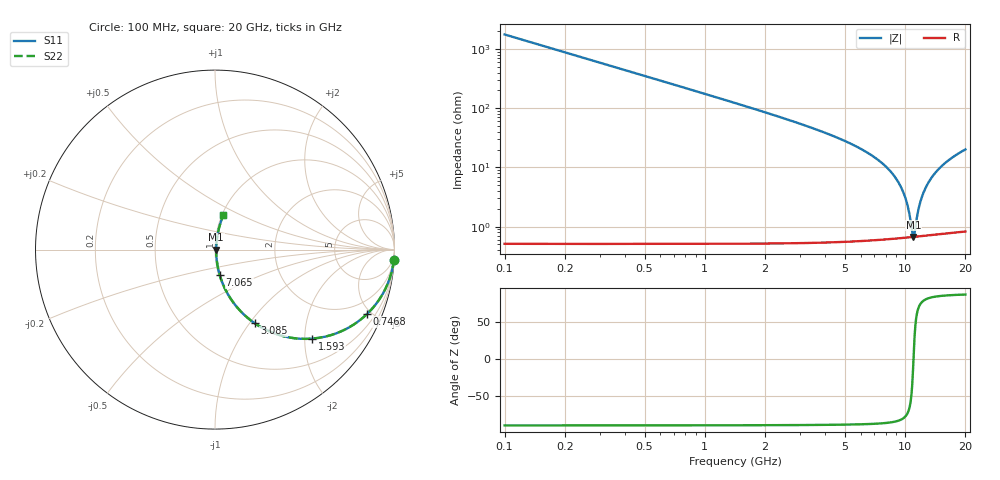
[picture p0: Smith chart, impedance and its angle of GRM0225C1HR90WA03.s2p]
!Murata Part Number: GRM0225C1HR90WA03
!These Parameters are Measured in Series Mode Connection
!Data Generated on Mar 30, 2021
!  o--ll--o
!Port1  Port2
!  o------o
!Operation Temp=25[degC], DC Bias Voltage=0[V]
!Freq. Start=100[MHz] Stop=20[GHz] 401[Steps]
# Hz S RI R 50
!Freq.(Hz) S11(Real) S11(Imag) S21(Real) S21(Imag) S12(Real) S12(Imag) S22(Real) S22(Imag)
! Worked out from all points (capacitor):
!   401 points, 100 MHz to 20 GHz, reference 50 ohm
!   read as one part in series: C = 900 fF near 199.5 MHz
!   lowest |Z| = 671 mohm at 11 GHz (marker M1)
!   series resonance near 11.01 GHz, so ESL is about 230 pH
!   S11 on the Smith chart (normalised r, x): 100 MHz: 1, -35; 746.8 MHz: 1.01, -4.71; 1.593 GHz: 1.01, -2.17; 3.085 GHz: 1.01, -1.06; 7.065 GHz: 1.01, -0.29; 20 GHz: 1.02, +0.40
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1e8  0.9968 -0.0564  0.0032 0.0564  0.0032 0.0564  0.9968 -0.0564
2.99e8  0.972 -0.1644  0.028 0.1644  0.028 0.1644  0.972 -0.1644
3.985e8  0.9513 -0.2146  0.0487 0.2146  0.0487 0.2146  0.9513 -0.2146
7.4675e8  0.8469 -0.359  0.1531 0.359  0.1531 0.359  0.8469 -0.359
1.5925e9  0.5415 -0.4959  0.4585 0.4959  0.4585 0.4959  0.5415 -0.4959
2.289e9  0.3542 -0.4748  0.6458 0.4748  0.6458 0.4748  0.3542 -0.4748
3.085e9  0.2203 -0.4095  0.7797 0.4095  0.7797 0.4095  0.2203 -0.4095
3.43325e9  0.1804 -0.3789  0.8196 0.3789  0.8196 0.3789  0.1804 -0.3789
6.7665e9  0.031 -0.1564  0.969 0.1564  0.969 0.1564  0.031 -0.1564
7.065e9  0.0266 -0.1422  0.9734 0.1422  0.9734 0.1422  0.0266 -0.1422
8.90575e9  0.0108 -0.0673  0.9892 0.0673  0.9892 0.0673  0.0108 -0.0673
1.005e10  0.0073 -0.0289  0.9927 0.0289  0.9927 0.0289  0.0073 -0.0289
1.039825e10  0.00686 -0.0181  0.9931 0.0181  0.9931 0.0181  0.00686 -0.0181
1.099525e10  0.00665 -0.00045  0.9933 0.00045  0.9933 0.00045  0.00665 -0.00045
1.11445e10  0.0067 0.0038  0.9933 -0.0038  0.9933 -0.0038  0.0067 0.0038
1.1642e10  0.00709 0.0176  0.9929 -0.0176  0.9929 -0.0176  0.00709 0.0176
1.199025e10  0.00758 0.0269  0.9924 -0.0269  0.9924 -0.0269  0.00758 0.0269
1.258725e10  0.00877 0.0422  0.9912 -0.0422  0.9912 -0.0422  0.00877 0.0422
1.338325e10  0.011 0.0616  0.989 -0.0616  0.989 -0.0616  0.011 0.0616
1.4826e10  0.0164 0.0941  0.9836 -0.0941  0.9836 -0.0941  0.0164 0.0941
1.67165e10  0.0257 0.1324  0.9743 -0.1324  0.9743 -0.1324  0.0257 0.1324
2e10  0.0463 0.1906  0.9537 -0.1906  0.9537 -0.1906  0.0463 0.1906
